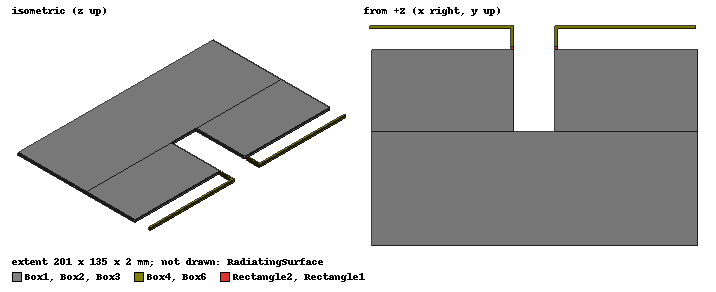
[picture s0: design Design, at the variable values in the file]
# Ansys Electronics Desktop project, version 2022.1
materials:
  vacuum: permittivity=1
  copper: permeability=0.999991 conductivity=58000000

design Design (HFSS, DrivenModal, model units mm)
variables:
  a = 50mm  # optimise 0.1mm..50mm
  b = 25mm  # optimise 0.1mm..25mm
  L2 = 13mm  # optimise 10mm..13mm
  P_height = 2mm
  L3 = 86.5mm  # optimise 70mm..86.5mm
  L1 = L2+L3
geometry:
  Box1 [copper] = box(corner=(-(200mm-b)/2, -(120mm-a)/2, 0mm), size=(200mm, 120mm-a, 2mm))
  Box2 [copper] = box(corner=(-(200mm-b)/2, (120mm-a)/2, 0mm), size=((200mm-b)/2, a, 2mm))
  Box3 [copper] = box(corner=((200mm +b)/2, (120mm-a)/2, 0mm), size=(-(200mm-b)/2, a, 2mm))
  Box4 [copper] = box(corner=(-27mm/2 +(b/2)-1mm, ((120mm-a)/2)  + a + P_height, 0mm), size=(2mm, L2, 2mm))
  Box5 = box(corner=(-27mm/2 +(b/2)-1mm, ((120mm-a)/2)  + a + P_height +L2, 0mm), size=(-L3, -2mm, 2mm))
  Box6 [copper] = box(corner=(27mm/2 + b/2 -1mm, ((120mm-a)/2)  + a + P_height, 0mm), size=(2mm, L2, 2mm))
  Box7 = box(corner=(27mm/2 +(b/2)-1mm, ((120mm-a)/2)  + a + P_height +L2, 0mm), size=(L3, -2mm, 2mm))
  Box4.unite(Box5)
  Box6.unite(Box7)
  Rectangle1 = rectangle(corner=(-27mm/2 +(b/2)-1mm, ((120mm-a)/2)  + a, 1mm), x_size=2mm, y_size=P_height)
  Rectangle2 = rectangle(corner=(27mm/2 + b/2 -1mm, ((120mm-a)/2)  + a, 1mm), x_size=2mm, y_size=P_height)
  RadiatingSurface [vacuum] = region(absolute_offset=142.85714mm on all sides)
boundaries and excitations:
  Open1: Radiation Objects=RadiatingSurface
  1: Lumped Port Objects=Rectangle1 Modes{Mode1{IntLine{(-1, 85, 1) -> (-1, 87, 1)} CharImp=Zpi RenormImp=50ohm}} Impedance=50ohm
  2: Lumped Port Objects=Rectangle2 Modes{Mode1{IntLine{(26, 85, 1) -> (26, 87, 1)} CharImp=Zpi RenormImp=50ohm}} Impedance=50ohm
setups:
  LTE: HfssDriven MultipleAdaptiveFreqsSetup{Low=690MHz High=710MHz} MaxDeltaS=0.02 MaximumPasses=6 MinimumPasses=1 MinimumConvergedPasses=2 PercentRefinement=30 BasisOrder=1 PortAccuracy=2 DrivenSolverType="Direct Solver"
    sweep Sweep: 690MHz to 710MHz, 25 points; Type=Discrete SaveFields
  Broadband: HfssDriven MultipleAdaptiveFreqsSetup{Low=500MHz High=1000MHz} MaxDeltaS=0.02 MaximumPasses=6 MinimumPasses=1 MinimumConvergedPasses=1 PercentRefinement=30 BasisOrder=1 PortAccuracy=2 DrivenSolverType="Direct Solver"
    sweep Sweep: 500MHz to 1000MHz, 30 points; Type=Discrete
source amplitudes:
  1:1: 1W 0deg
  2:1: 0W 0deg
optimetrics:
  S11_L1_Optimization: Optimization Optimizer="Genetic Algorithm" AnalysisStopOptions{StopForNumIteration MaxNumIteration=1000 MinNumIteration=10} CostFuncNormType=L2 GAOptions{NumParents=30 ProportionOfParentSelProb=10 MatingPoolSize=30 NumChildren=30 NumParetoSurvivors=10 PopulationSize=30 RouletteSurvivorSelection ProportionOfSurvivorSelProb=10 CrossoverScheme=3 CrossoverProbability=1 VariableCrossoverProbability=1 VariableExchangeProbability=0 MuCross=1 GammaCross=0.5 NumMatingParents=2 MutationDistribution=2 UniformMutationProbability=0 MutationProbability=1 VariableMutationProbability=1 SigmaMut=0.05 SimplexMirrorProbability=0.1 MuMut=10} Acceptable_Cost=0 Noise=0.0001 UpdateDesignWhenDone
    goal dB(S(1,1)) <= -10 weight 1 on LTE : Sweep at Freq 0.69GHz to 0.71GHz
  S21_ab_Optimization: Optimization Optimizer="kDX ASO" AnalysisStopOptions{StopForNumIteration MaxNumIteration=32 MinNumIteration=10} CostFuncNormType=L2 Acceptable_Cost=0 Noise=0.0001 UpdateDesignWhenDone
    goal dB(S(2,1)) <= -15 weight 1 on LTE : Sweep at Freq 0.69GHz to 0.71GHz
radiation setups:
  3D: Infinite Sphere Theta=0deg..180deg step 2deg Phi=-180deg..180deg step 2deg
  Elevation: Infinite Sphere Theta=-180deg..180deg step 1deg Phi=0deg..90deg step 90deg
  Azimuth: Infinite Sphere Theta=90deg..90deg step 0deg Phi=-180deg..180deg step 1deg
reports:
  S Parameter Plot 1: dB(S(1,1)) vs Freq on LTE : Sweep [a=20mm b=10mm L2=all L3=all]
  S Parameter Plot 2: dB(S(2,1)) vs Freq on LTE : Sweep [a=all b=all L2=13mm L3=86.5mm]
  Gain Plot 1: GainTotal vs Phi, Theta on LTE : LastAdaptive, 3D [Freq=0.7GHz a=50mm b=25mm L2=13mm L3=86.5mm]
  S Parameter Plot 3: dB(S(1,1)) vs Freq on Broadband : Sweep [a=all b=all L2=all L3=all]
  VSWR Plot 1: VSWR(1) vs Freq on Broadband : Sweep [a=all b=all L2=all L3=all]
  S Parameter Plot 4: dB(S(2,1)) vs Freq on Broadband : Sweep [a=all b=all L2=all L3=all]
  Gain Plot 2: GainTotal vs Phi, Theta on LTE : LastAdaptive, 3D [Freq=0.7GHz]
